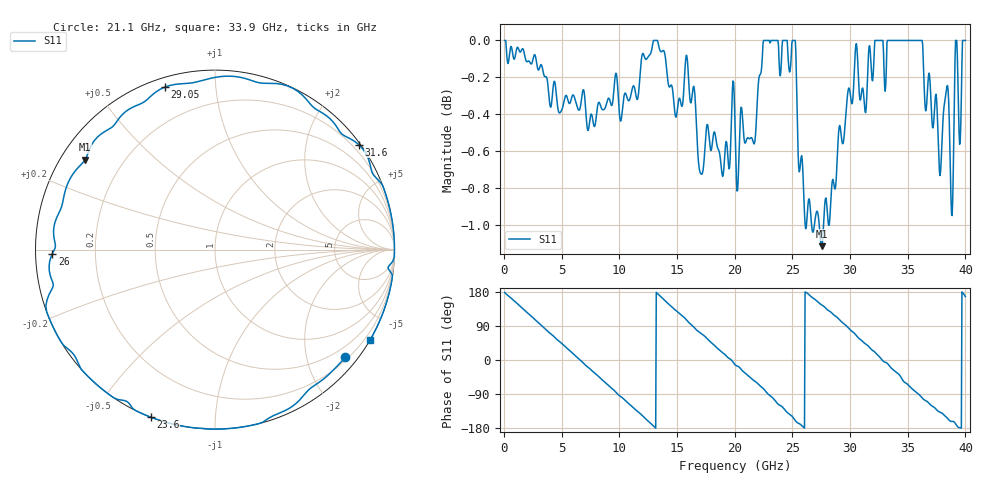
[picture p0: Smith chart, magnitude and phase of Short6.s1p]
! C:\Work\SPARQ2\Technical\Relays\Short6.s1p
! Tue Aug  7 09:49:34 2018
!!Measured using LeCroy SPARQ LCRY2401N02001
!SingleEnded
! freq S11
# MHz S MA R 50.00
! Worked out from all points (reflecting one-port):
!   800 points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, 50 MHz to 40 GHz, reference 50 ohm
!   lowest |S11| = -1.1 dB at 27.55 GHz (marker M1), VSWR 15.64, Z = 3.51 + j15.6 ohm
!   phase of S11 starts at 178 deg and turns -1091 deg over the sweep
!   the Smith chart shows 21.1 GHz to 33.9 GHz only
!   S11 on the Smith chart (normalised r, x): 21.1 GHz: 0.26, -2.75; 23.6 GHz: 0.00, -0.69; 26 GHz: 0.05, -0.01; 29.05 GHz: 0.04, +0.74; 31.6 GHz: 0.04, +3.06; 33.9 GHz: 0.00, -3.72
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50  1 178.3
1300  0.9939 144.5
2750  0.9894 104.7
5050  0.9585 42.5
7400  0.9494 -21.9
8900  0.9617 -62.7
10050  0.9524 -95.0
11250  0.9721 -127.0
12850  0.996 -171.0
15050  0.959 127.4
16050  0.9703 98.0
17500  0.9434 59.9
20050  0.9417 -13.2
21100  0.9412 -39.7
22600  1 -79.5
23600  1 -111.0
25050  1 -151.1
26000  0.9063 -178.6
27550  0.8798 145.2
29050  0.9474 107.2
30050  0.9656 78.7
31600  0.9919 36.1
32650  1 5.0
33900  1 -30.1
35050  1 -66.1
36900  0.978 -116.0
38400  0.9718 -152.4
40000  1 167.4
